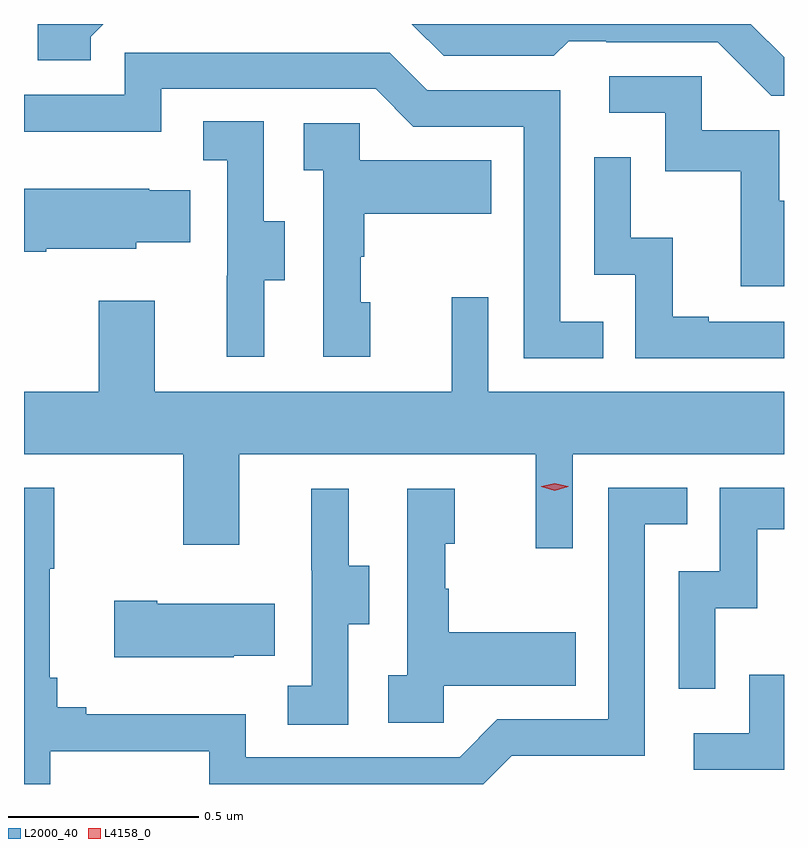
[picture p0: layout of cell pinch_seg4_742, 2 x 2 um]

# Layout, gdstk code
import gdstk
lib = gdstk.Library(unit=1e-6, precision=1e-09)
def P(c, l, *ps):  # polygons
    for p in ps: c.add(gdstk.Polygon(p, *l))
L2000_40 = (2000, 40)
L4158_0 = (4158, 0)

pinch_seg4_742 = lib.new_cell('pinch_seg4_742')
P(pinch_seg4_742, L2000_40, [(833.185,820.508),(833.097,820.596),(832.206,820.596),(832.29,820.512),(832.579,820.512),(832.618,820.551),(832.717,820.551),(832.717,820.548),(833.01,820.548),(833.151,820.407),(833.185,820.407)],
  [(831.36,820.563),(831.393,820.596),(831.221,820.596),(831.221,820.5),(831.36,820.5)],
  [(832.709,819.813),(832.596,819.813),(832.596,820.422),(832.246,820.422),(832.147,820.521),(831.45,820.521),(831.45,820.41),(831.185,820.41),(831.185,820.313),(831.546,820.313),(831.546,820.425),(832.11,820.425),(832.209,820.326),(832.5,820.326),(832.5,819.717),(832.709,819.717)],
  [(833.185,820.131),(833.173,820.131),(833.173,820.317),(832.968,820.317),(832.968,820.458),(832.725,820.458),(832.725,820.362),(832.872,820.362),(832.872,820.209),(833.071,820.209),(833.071,819.906),(833.185,819.906)],
  [(831.817,819.922),(831.871,819.922),(831.871,820.077),(831.816,820.077),(831.816,820.34),(831.657,820.34),(831.657,820.237),(831.72,820.237),(831.72,819.933),(831.719,819.933),(831.719,819.72),(831.817,819.72)],
  [(832.096,819.864),(832.071,819.864),(832.071,819.983),(832.081,819.983),(832.081,820.097),(832.415,820.097),(832.415,820.237),(832.068,820.237),(832.068,820.335),(831.921,820.335),(831.921,820.211),(831.972,820.211),(831.972,819.72),(832.096,819.72)],
  [(833.185,819.813),(832.987,819.813),(832.987,819.826),(832.892,819.826),(832.892,820.034),(832.782,820.034),(832.782,820.246),(832.686,820.246),(832.686,819.936),(832.794,819.936),(832.794,819.717),(833.185,819.717)],
  [(831.244,820.004),(831.48,820.004),(831.48,820.022),(831.623,820.022),(831.623,820.159),(831.515,820.159),(831.515,820.162),(831.185,820.162),(831.185,819.997),(831.244,819.997)],
  [(832.629,819.464),(833.185,819.464),(833.185,819.628),(832.407,819.628),(832.407,819.877),(832.31,819.877),(832.31,819.628),(831.529,819.628),(831.529,819.868),(831.382,819.868),(831.382,819.628),(831.185,819.628),(831.185,819.464),(831.604,819.464),(831.604,819.225),(831.751,819.225),(831.751,819.464),(832.532,819.464),(832.532,819.216),(832.629,819.216)],
  [(831.254,818.682),(831.672,818.682),(831.672,818.596),(832.394,818.596),(832.468,818.67),(832.818,818.67),(832.818,819.279),(832.931,819.279),(832.931,819.375),(832.722,819.375),(832.722,818.766),(832.431,818.766),(832.332,818.667),(831.768,818.667),(831.768,818.779),(831.349,818.779),(831.349,818.798),(831.272,818.798),(831.272,818.875),(831.253,818.875),(831.253,819.163),(831.265,819.163),(831.265,819.376),(831.185,819.376),(831.185,818.596),(831.254,818.596)],
  [(833.004,819.059),(833.114,819.059),(833.114,819.267),(833.185,819.267),(833.185,819.375),(833.016,819.375),(833.016,819.156),(832.908,819.156),(832.908,818.847),(833.004,818.847)],
  [(832.038,819.016),(832.093,819.016),(832.093,819.171),(832.039,819.171),(832.039,819.373),(831.941,819.373),(831.941,819.159),(831.942,819.159),(831.942,818.855),(831.879,818.855),(831.879,818.752),(832.038,818.752)],
  [(832.29,818.855),(832.637,818.855),(832.637,818.995),(832.303,818.995),(832.303,819.11),(832.293,819.11),(832.293,819.228),(832.318,819.228),(832.318,819.373),(832.194,819.373),(832.194,818.882),(832.143,818.882),(832.143,818.757),(832.29,818.757)],
  [(831.737,818.933),(831.845,818.933),(831.845,819.07),(831.535,819.07),(831.535,819.078),(831.423,819.078),(831.423,818.93),(831.737,818.93)],
  [(833.185,818.884),(833.094,818.884),(833.094,818.73),(832.947,818.73),(832.947,818.634),(833.185,818.634)])
P(pinch_seg4_742, L4158_0, [(832.582,819.368),(832.546,819.378),(832.546,819.378),(832.546,819.379),(832.582,819.388),(832.617,819.379),(832.617,819.378),(832.617,819.378)])

lib.write_gds('pinch_seg4_742.gds')
